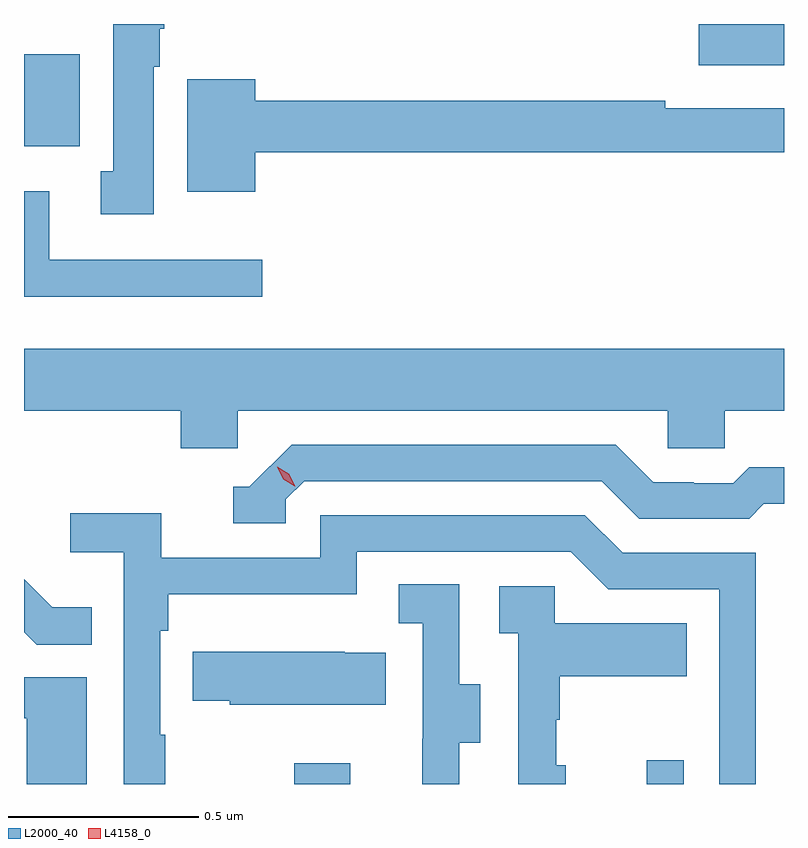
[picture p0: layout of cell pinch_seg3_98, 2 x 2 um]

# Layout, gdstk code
import gdstk
lib = gdstk.Library(unit=1e-6, precision=1e-09)
def R(c, l, rs):  # rectangles x0, y0, x1, y1
    for r in rs: c.add(gdstk.rectangle(r[:2], r[2:], *l))
def P(c, l, *ps):  # polygons
    for p in ps: c.add(gdstk.Polygon(p, *l))
L2000_40 = (2000, 40)
L4158_0 = (4158, 0)

pinch_seg3_98 = lib.new_cell('pinch_seg3_98')
R(pinch_seg3_98, L2000_40, [(1020.082,726.574,1020.229,726.628), (1021.01,726.574,1021.107,726.637), (1019.371,728.252,1019.518,728.494), (1021.146,728.465,1021.371,728.574)])
P(pinch_seg3_98, L2000_40, [(1019.713,728.462),(1019.728,728.462),(1019.728,728.562),(1019.74,728.562),(1019.74,728.574),(1019.606,728.574),(1019.606,728.186),(1019.573,728.186),(1019.573,728.073),(1019.713,728.073)],
  [(1019.98,728.236),(1021.371,728.236),(1021.371,728.352),(1021.058,728.352),(1021.058,728.372),(1019.98,728.372),(1019.98,728.428),(1019.801,728.428),(1019.801,728.132),(1019.98,728.132)],
  [(1019.998,727.953),(1019.437,727.953),(1019.437,728.134),(1019.371,728.134),(1019.371,727.856),(1019.998,727.856)],
  [(1019.934,727.556),(1021.065,727.556),(1021.065,727.458),(1021.215,727.458),(1021.215,727.556),(1021.371,727.556),(1021.371,727.72),(1019.371,727.72),(1019.371,727.556),(1019.783,727.556),(1019.783,727.458),(1019.934,727.458)],
  [(1020.06,727.323),(1020.108,727.371),(1020.891,727.371),(1020.99,727.272),(1021.279,727.272),(1021.318,727.311),(1021.371,727.311),(1021.371,727.408),(1021.279,727.408),(1021.237,727.365),(1021.134,727.365),(1021.134,727.368),(1021.027,727.368),(1020.928,727.467),(1020.075,727.467),(1019.964,727.356),(1019.921,727.356),(1019.921,727.26),(1020.06,727.26)],
  [(1019.743,726.704),(1019.73,726.704),(1019.73,726.977),(1019.75,726.977),(1019.75,727.073),(1020.246,727.073),(1020.246,727.185),(1020.81,727.185),(1020.909,727.086),(1021.2,727.086),(1021.2,726.574),(1021.296,726.574),(1021.296,727.182),(1020.946,727.182),(1020.847,727.281),(1020.15,727.281),(1020.15,727.17),(1019.732,727.17),(1019.732,727.286),(1019.493,727.286),(1019.493,727.184),(1019.634,727.184),(1019.634,726.574),(1019.743,726.574)],
  [(1019.549,727.039),(1019.445,727.039),(1019.371,727.113),(1019.371,726.974),(1019.405,726.94),(1019.549,726.94)],
  [(1020.517,726.682),(1020.571,726.682),(1020.571,726.837),(1020.516,726.837),(1020.516,727.1),(1020.357,727.1),(1020.357,726.997),(1020.42,726.997),(1020.42,726.693),(1020.419,726.693),(1020.419,726.574),(1020.517,726.574)],
  [(1020.796,726.624),(1020.771,726.624),(1020.771,726.743),(1020.781,726.743),(1020.781,726.857),(1021.115,726.857),(1021.115,726.997),(1020.768,726.997),(1020.768,727.095),(1020.621,727.095),(1020.621,726.971),(1020.672,726.971),(1020.672,726.574),(1020.796,726.574)],
  [(1020.323,726.919),(1020.215,726.919),(1020.215,726.922),(1019.815,726.922),(1019.815,726.793),(1019.913,726.793),(1019.913,726.782),(1020.323,726.782)],
  [(1019.536,726.855),(1019.371,726.855),(1019.371,726.747),(1019.378,726.747),(1019.378,726.574),(1019.536,726.574)])
P(pinch_seg3_98, L4158_0, [(1020.084,727.357),(1020.053,727.376),(1020.037,727.409),(1020.037,727.409),(1020.037,727.409),(1020.068,727.39),(1020.085,727.358),(1020.085,727.357)])

lib.write_gds('pinch_seg3_98.gds')
